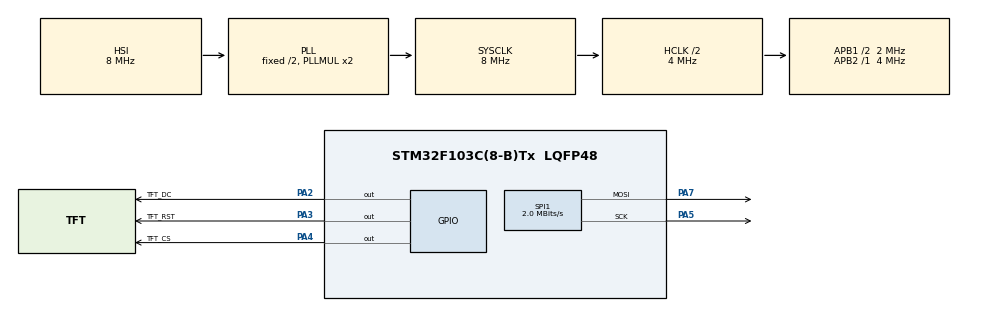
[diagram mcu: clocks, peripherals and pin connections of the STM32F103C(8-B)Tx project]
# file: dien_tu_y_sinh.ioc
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Dma.Request0=SPI1_TX
Dma.SPI1_TX.0.Direction=DMA_MEMORY_TO_PERIPH
Dma.SPI1_TX.0.Instance=DMA1_Channel3
Dma.SPI1_TX.0.MemDataAlignment=DMA_MDATAALIGN_BYTE
Dma.SPI1_TX.0.MemInc=DMA_MINC_ENABLE
Dma.SPI1_TX.0.Mode=DMA_NORMAL
Dma.SPI1_TX.0.PeriphDataAlignment=DMA_PDATAALIGN_BYTE
Dma.SPI1_TX.0.PeriphInc=DMA_PINC_DISABLE
Dma.SPI1_TX.0.Priority=DMA_PRIORITY_LOW
Mcu.Family=STM32F1
Mcu.Name=STM32F103C(8-B)Tx
Mcu.Package=LQFP48
NVIC.DMA1_Channel3_IRQn=true\:0\:0\:false\:false\:true\:false\:true\:true
NVIC.PriorityGroup=NVIC_PRIORITYGROUP_4
NVIC.SPI1_IRQn=true\:0\:0\:false\:false\:true\:true\:true\:true
PA13.Mode=Serial_Wire
PA13.Signal=SYS_JTMS-SWDIO
PA14.Mode=Serial_Wire
PA14.Signal=SYS_JTCK-SWCLK
PA2.GPIO_Label=TFT_DC
PA2.Signal=GPIO_Output
PA3.GPIO_Label=TFT_RST
PA3.Signal=GPIO_Output
PA4.GPIO_Label=TFT_CS
PA4.Signal=GPIO_Output
PA5.Mode=TX_Only_Simplex_Unidirect_Master
PA5.Signal=SPI1_SCK
PA7.Mode=TX_Only_Simplex_Unidirect_Master
PA7.Signal=SPI1_MOSI
PD0-OSC_IN.Mode=HSE-External-Oscillator
PD0-OSC_IN.Signal=RCC_OSC_IN
PD1-OSC_OUT.Mode=HSE-External-Oscillator
PD1-OSC_OUT.Signal=RCC_OSC_OUT
ProjectManager.HeapSize=0x200
ProjectManager.StackSize=0x400
ProjectManager.TargetToolchain=STM32CubeIDE
RCC.AHBCLKDivider=RCC_SYSCLK_DIV2
RCC.AHBFreq_Value=4000000
RCC.APB1CLKDivider=RCC_HCLK_DIV2
RCC.APB1Freq_Value=2000000
RCC.APB1TimFreq_Value=4000000
RCC.APB2Freq_Value=4000000
RCC.APB2TimFreq_Value=4000000
RCC.HCLKFreq_Value=4000000
RCC.SYSCLKFreq_VALUE=8000000
RCC.SYSCLKSource=RCC_SYSCLKSOURCE_PLLCLK
RCC.USBFreq_Value=8000000
SPI1.BaudRatePrescaler=SPI_BAUDRATEPRESCALER_2
SPI1.CalculateBaudRate=2.0 MBits/s
SPI1.Direction=SPI_DIRECTION_2LINES
SPI1.Mode=SPI_MODE_MASTER
SPI1.VirtualType=VM_MASTER
board=custom

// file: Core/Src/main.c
/* USER CODE BEGIN Header */
/**
  ******************************************************************************
  * @file           : main.c
  * @brief          : Main program body
  ******************************************************************************
  * @attention
  *
  * Copyright (c) 2026 STMicroelectronics.
  * All rights reserved.
  *
  * This software is licensed under terms that can be found in the LICENSE file
  * in the root directory of this software component.
  * If no LICENSE file comes with this software, it is provided AS-IS.
  *
  ******************************************************************************
  */
/* USER CODE END Header */
#include "main.h"

/* USER CODE BEGIN Includes */
#include "main.h"
#include "ili9341.h"
#include "fonts.h"
#include "max30102.h"
#include "filter.h"
#include <stdio.h>
#include <stdlib.h>
#include <math.h>
/* USER CODE END Includes */

/* USER CODE BEGIN PD */
#define IR_DC_THRESHOLD 100000
/* USER CODE END PD */

SPI_HandleTypeDef hspi1;
DMA_HandleTypeDef hdma_spi1_tx;

/* USER CODE BEGIN PV */
// Tọa độ khung sóng nhịp tim (~4 s trên màn, mỗi nhịp đủ rộng để thấy dạng xung)
#define WAVE_X_MIN   10
#define WAVE_X_MAX   310
#define WAVE_Y_MIN   105
#define WAVE_Y_MAX   230
#define WAVE_Y_MID   167
#define WAVE_Y_BASE  205
#define WAVE_STEP    3

static uint16_t wave_x_curr = WAVE_X_MIN;
static uint16_t wave_y_prev = WAVE_Y_BASE;
static float wave_disp = 0.0f;

// Biến xử lý tín hiệu chuẩn y tế
static uint32_t ir = 0, red = 0;
static float dc_ir = 0.0f, dc_red = 0.0f;
static float ac_ir = 0.0f, ac_red = 0.0f;
static float alpha = 0.1f;

static float ir_filtered = 0.0f;
static float red_filtered = 0.0f;

static float ir_prev2 = 0.0f;
static float ir_prev1 = 0.0f;
static float ir_current = 0.0f;

static uint32_t last_peak_time = 0;
static uint8_t peak_detected = 0;

static float BPM = 0.0f;
static uint8_t display_bpm = 0;
static uint8_t display_spo2 = 0;
static uint8_t finger_detected = 0;

static float red_ac_peak = 0.0f;
static float ir_ac_peak = 0.0f;

// Trung bình 8 khoảng RR + làm mượt để BPM không nhảy vọt
#define BEAT_BUF_SIZE 8
#define SAMPLE_PERIOD_MS 40u /* MAX30102 100 Hz / SMP_AVE 4 = 25 Hz */
static uint16_t beat_intervals[BEAT_BUF_SIZE] = {0};
static uint8_t beat_idx = 0;
static uint8_t beat_cnt = 0;
static float peak_amplitude_recent = 50.0f;
static float wave_scale = 0.18f;
static uint32_t sample_tick_ms = 0;
static uint32_t last_beat_wall_ms = 0;
static float bpm_smooth = 0.0f;
/* USER CODE END PV */

void SystemClock_Config(void);
static void MX_GPIO_Init(void);
static void MX_DMA_Init(void);
static void MX_SPI1_Init(void);

/* USER CODE BEGIN 0 */
// Khởi tạo khung giao diện cố định
void UI_InitLayout(void) {
    ILI9341_FillScreen(BLACK);

    // Tiêu đề
    ILI9341_DrawText("PATIENT MONITOR - MAX30102", 20, 5, CYAN, BLACK, Font_7x10);

    // Khung BPM (Màu đỏ)
    ILI9341_FillRectangleDMA(10, 25, 145, 70, RED);
    ILI9341_FillRectangleDMA(12, 27, 141, 66, BLACK);
    ILI9341_DrawText("HEART RATE", 18, 30, RED, BLACK, Font_7x10);
    ILI9341_DrawText("BPM", 115, 70, RED, BLACK, Font_7x10);

    // Khung SpO2 (Màu xanh lá)
    ILI9341_FillRectangleDMA(165, 25, 145, 70, GREEN);
    ILI9341_FillRectangleDMA(167, 27, 141, 66, BLACK);
    ILI9341_DrawText("SPO2", 175, 30, GREEN, BLACK, Font_7x10);
    ILI9341_DrawText("%", 290, 70, GREEN, BLACK, Font_7x10);

    // Khung sóng PPG (Màu vàng)
    ILI9341_FillRectangleDMA(WAVE_X_MIN - 2, WAVE_Y_MIN - 2, (WAVE_X_MAX - WAVE_X_MIN) + 4, (WAVE_Y_MAX - WAVE_Y_MIN) + 4, YELLOW);
    ILI9341_FillRectangleDMA(WAVE_X_MIN, WAVE_Y_MIN, (WAVE_X_MAX - WAVE_X_MIN), (WAVE_Y_MAX - WAVE_Y_MIN), BLACK);
    ILI9341_DrawText("HEART WAVE", WAVE_X_MIN + 5, WAVE_Y_MIN + 5, YELLOW, BLACK, Font_7x10);
}

// Cập nhật số liệu BPM
void UI_UpdateBPM(uint8_t bpm) {
    char buf[10];
    if (bpm == 0) {
        sprintf(buf, "---");
    } else {
        sprintf(buf, "%3d", bpm);
    }
    ILI9341_DrawText(buf, 30, 48, WHITE, BLACK, Font_16x26);
}

// Cập nhật số liệu SpO2
void UI_UpdateSpO2(uint8_t spo2) {
    char buf[10];
    if (spo2 == 0) {
        sprintf(buf, "---");
    } else {
        sprintf(buf, "%3d", spo2);
    }
    ILI9341_DrawText(buf, 185, 48, WHITE, BLACK, Font_16x26);
}

// Vẽ sóng nhịp tim (xung PPG dạng tâm thu, nét 2px, quét 3px/mẫu)
void UI_DrawWavePoint(int16_t ppg_val) {
    int16_t y_new = WAVE_Y_BASE - ppg_val;
    if (y_new < WAVE_Y_MIN + 18) y_new = WAVE_Y_MIN + 18;
    if (y_new > WAVE_Y_MAX - 4)  y_new = WAVE_Y_MAX - 4;

    uint16_t x1 = wave_x_curr + WAVE_STEP;
    if (x1 > WAVE_X_MAX) x1 = WAVE_X_MAX;

    uint16_t erase_x = wave_x_curr + 1;
    uint16_t erase_w = WAVE_STEP + 8;
    if (erase_x + erase_w > WAVE_X_MAX) {
        erase_w = (WAVE_X_MAX > erase_x) ? (WAVE_X_MAX - erase_x) : 0;
    }
    if (erase_w > 0) {
        ILI9341_FillRectangleDMA(erase_x, WAVE_Y_MIN + 16, erase_w, (WAVE_Y_MAX - WAVE_Y_MIN - 17), BLACK);
    }

    if (x1 > wave_x_curr) {
        ILI9341_DrawLine(wave_x_curr, wave_y_prev, x1, y_new, GREEN);
        ILI9341_DrawLine(wave_x_curr, (uint16_t)(wave_y_prev - 1), x1, (uint16_t)(y_new - 1), GREEN);
    }

    wave_y_prev = y_new;
    wave_x_curr = x1;

    if (wave_x_curr >= WAVE_X_MAX) {
        wave_x_curr = WAVE_X_MIN + 1;
        wave_y_prev = y_new;
        ILI9341_FillRectangleDMA(WAVE_X_MIN, WAVE_Y_MIN + 16, 10, (WAVE_Y_MAX - WAVE_Y_MIN - 17), BLACK);
    }
}

static bool last_finger_state = true;

void UI_UpdateFingerStatus(bool finger) {
    if (finger != last_finger_state) {
        last_finger_state = finger;
        if (!finger) {
            UI_UpdateBPM(0);
            UI_UpdateSpO2(0);
            ILI9341_DrawText("PLACE FINGER ON SENSOR", 75, WAVE_Y_MID - 5, YELLOW, BLACK, Font_7x10);
        } else {
            // Xóa dòng thông báo khi đã đặt ngón tay
            ILI9341_FillRectangleDMA(65, WAVE_Y_MID - 8, 190, 16, BLACK);
        }
    }
}

void UI_DrawHeartBeat(bool active) {
    uint16_t color = active ? RED : BLACK;
    ILI9341_FillRectangleDMA(95, 30, 8, 8, color);
}
/* USER CODE END 0 */

int main(void)
{

  /* MCU Configuration--------------------------------------------------------*/

  /* Reset of all peripherals, Initializes the Flash interface and the Systick. */
  HAL_Init();

  /* Configure the system clock */
  SystemClock_Config();

  /* Initialize all configured peripherals */
  MX_GPIO_Init();
  MX_DMA_Init();
  MX_SPI1_Init();
  /* USER CODE BEGIN 2 */
  ILI9341_Init();
  UI_InitLayout();
  UI_UpdateBPM(0);
  UI_UpdateSpO2(0);

  // Khởi tạo bộ lọc dải thông (0.5 - 5Hz) và cảm biến MAX30102 theo repo thuyhoh/y-sinh
  BandPass_Init();
  max30102_init();
  dc_ir = dc_red = 0;
  ir_prev1 = ir_prev2 = 0;
  UI_UpdateFingerStatus(false);
  /* USER CODE END 2 */

  /* Infinite loop */
  /* USER CODE BEGIN WHILE */
  uint32_t last_ui_tick = 0;
  uint32_t last_fifo_poll = 0;
  uint32_t beat_anim_tick = 0;
  bool heart_on = false;
  uint8_t prev_ui_bpm = 255;
  uint8_t prev_ui_spo2 = 255;

  while (1)
  {
      bool data_ready = max30102_is_data_ready();
      if (!data_ready && (HAL_GetTick() - last_fifo_poll >= 15)) {
          last_fifo_poll = HAL_GetTick();
          if (max30102_available_samples() > 0) {
              data_ready = true;
          }
      }

      if (data_ready) {
          uint8_t samples = max30102_available_samples();
          if (samples == 0) samples = 1;
          if (samples > 16) samples = 16; // Giới hạn an toàn tránh nghẽn CPU

          for (uint8_t s = 0; s < samples; s++) {
              max30102_read_spo2(&red, &ir);

              // 1. Tách thành phần DC (DC tracking)
              dc_ir  += alpha * ((float)ir  - dc_ir);
              dc_red += alpha * ((float)red - dc_red);

              // Chuẩn y tế: Nghịch đảo quang học (dc - raw) để khi tim tống máu, xung vọt lên thành đỉnh dương (Positive Systolic Peak)
              ac_ir  = dc_ir - (float)ir;
              ac_red = dc_red - (float)red;

              // 2. Kiểm tra tiếp xúc ngón tay chuẩn y tế (DC nằm trong dải sinh lý hợp lệ, không bão hòa quang)
              if (dc_ir > 40000.0f && dc_ir < 250000.0f) {
                  finger_detected = 1;
              } else {
                  finger_detected = 0;
                  BPM = 0;
                  display_bpm = 0;
                  display_spo2 = 0;
                  peak_detected = 0;
                  beat_cnt = 0;
                  beat_idx = 0;
                  bpm_smooth = 0.0f;
                  peak_amplitude_recent = 50.0f;
                  wave_disp = 0.0f;
                  BandPass_Reset();
              }

              // 3. Bộ lọc dải thông 0.5 - 4.5Hz chuẩn y tế (BandPass_IR & BandPass_Red)
              ir_filtered = BandPass_IR(ac_ir);
              red_filtered = BandPass_Red(ac_red);

              ir_current = ir_filtered;
              sample_tick_ms += SAMPLE_PERIOD_MS;

              // 4. Bắt đỉnh tâm thu:
              // Thời gian RR đếm theo mẫu 25 Hz (không dùng HAL_GetTick) để FIFO xử lý hàng loạt
              // không làm khoảng RR bị rút ngắn giả → BPM nhảy vọt.
              float dynamic_threshold = 0.6f * peak_amplitude_recent;
              if (dynamic_threshold < 20.0f) dynamic_threshold = 20.0f;
              if (dynamic_threshold > 80.0f) dynamic_threshold = 80.0f;

              uint32_t now = sample_tick_ms;
              uint32_t min_rr_ms = 400; /* trần ~150 BPM, loại khe dicrotic */
              if (beat_cnt >= 2) {
                  uint32_t sum_prev = 0;
                  for (uint8_t i = 0; i < beat_cnt; i++) {
                      sum_prev += beat_intervals[i];
                  }
                  uint32_t avg_prev = sum_prev / beat_cnt;
                  uint32_t adaptive_rr = (uint32_t)(0.55f * (float)avg_prev);
                  if (adaptive_rr > min_rr_ms) min_rr_ms = adaptive_rr;
                  if (min_rr_ms > 700) min_rr_ms = 700;
              }

              if (finger_detected && (ir_prev2 < ir_prev1) && (ir_prev1 >= ir_current) && (ir_prev1 > dynamic_threshold) &&
                  (!peak_detected || (now - last_peak_time >= min_rr_ms)))
              {
                  peak_amplitude_recent = 0.7f * peak_amplitude_recent + 0.3f * ir_prev1;

                  if (peak_detected == 0)
                  {
                      last_peak_time = now;
                      last_beat_wall_ms = HAL_GetTick();
                      peak_detected = 1;
                      beat_cnt = 0;
                      beat_idx = 0;
                      bpm_smooth = 0.0f;
                  }
                  else
                  {
                      uint32_t delta_t = now - last_peak_time;

                      uint8_t accept_rr = 0;
                      if (delta_t >= 400 && delta_t <= 1500) {
                          if (beat_cnt < 2) {
                              accept_rr = 1;
                          } else {
                              uint32_t sum_dt0 = 0;
                              for (uint8_t i = 0; i < beat_cnt; i++) {
                                  sum_dt0 += beat_intervals[i];
                              }
                              uint32_t avg0 = sum_dt0 / beat_cnt;
                              /* Bỏ đỉnh thừa (RR quá ngắn). Nhịp bị miss (RR ~2 lần) không đưa vào trung bình. */
                              if (delta_t < (avg0 * 75u) / 100u) {
                                  accept_rr = 0; /* không dịch last_peak: đây là đỉnh giả */
                              } else if (delta_t > (avg0 * 16u) / 10u) {
                                  last_peak_time = now; /* miss beat: neo lại, không làm BPM tụt */
                                  accept_rr = 0;
                              } else {
                                  accept_rr = 1;
                              }
                          }
                      }

                      if (accept_rr) {
                          last_peak_time = now;
                          last_beat_wall_ms = HAL_GetTick();
                          beat_intervals[beat_idx] = (uint16_t)delta_t;
                          beat_idx = (beat_idx + 1) % BEAT_BUF_SIZE;
                          if (beat_cnt < BEAT_BUF_SIZE) beat_cnt++;

                          uint32_t sum_dt = 0;
                          for (uint8_t i = 0; i < beat_cnt; i++) {
                              sum_dt += beat_intervals[i];
                          }
                          uint32_t avg_dt = sum_dt / beat_cnt;
                          float instant_bpm = 60000.0f / (float)avg_dt;

                          if (instant_bpm >= 40.0f && instant_bpm <= 150.0f && beat_cnt >= 3) {
                              if (bpm_smooth < 1.0f) {
                                  bpm_smooth = instant_bpm;
                              } else {
                                  bpm_smooth = 0.8f * bpm_smooth + 0.2f * instant_bpm;
                                  float max_step = 3.0f;
                                  if (bpm_smooth > (float)display_bpm + max_step && display_bpm > 0) {
                                      bpm_smooth = (float)display_bpm + max_step;
                                  }
                                  if (bpm_smooth < (float)display_bpm - max_step && display_bpm > 0) {
                                      bpm_smooth = (float)display_bpm - max_step;
                                  }
                              }
                              display_bpm = (uint8_t)(bpm_smooth + 0.5f);

                              UI_DrawHeartBeat(true);
                              heart_on = true;
                              beat_anim_tick = HAL_GetTick();
                          }
                      }
                  }

                  // 5. Tính SpO2 chuẩn y tế tại đỉnh tâm thu (Ratio of Ratios)
                  red_ac_peak = fabsf(red_filtered);
                  ir_ac_peak  = fabsf(ir_filtered);
                  if (ir_ac_peak > 5.0f && dc_ir > 10000.0f && dc_red > 10000.0f) {
                      float R = (red_ac_peak / dc_red) / (ir_ac_peak / dc_ir);

                      // Đường cong hiệu chuẩn y tế chuẩn hoá Maxim / Nellcor
                      float calc_spo2 = 110.0f - 25.0f * R;
                      if (calc_spo2 > 99.0f) calc_spo2 = 99.0f;
                      if (calc_spo2 < 85.0f) calc_spo2 = 85.0f;

                      if (display_spo2 == 0) {
                          display_spo2 = (uint8_t)(calc_spo2 + 0.5f);
                      } else {
                          display_spo2 = (uint8_t)(0.8f * display_spo2 + 0.2f * calc_spo2 + 0.5f);
                      }
                  }
              }

              ir_prev2 = ir_prev1;
              ir_prev1 = ir_current;

              // 6. Vẽ sóng nhịp tim: làm mượt hiển thị, nén nửa âm để thành xung (đỉnh tâm thu)
              if (finger_detected) {
                  wave_disp = 0.55f * wave_disp + 0.45f * ir_current;
                  float pulse = wave_disp;
                  if (pulse < 0.0f) pulse *= 0.22f;

                  if (peak_amplitude_recent > 15.0f) {
                      float target_scale = 58.0f / peak_amplitude_recent;
                      if (target_scale > 0.55f) target_scale = 0.55f;
                      if (target_scale < 0.10f) target_scale = 0.10f;
                      wave_scale += 0.03f * (target_scale - wave_scale);
                  }

                  int16_t wave_val = (int16_t)(pulse * wave_scale);
                  if (wave_val > 72)  wave_val = 72;
                  if (wave_val < -12) wave_val = -12;
                  UI_DrawWavePoint(wave_val);
              } else {
                  wave_disp = 0.0f;
                  UI_DrawWavePoint(0);
              }
          }

          // Cập nhật thông báo ngón tay
          UI_UpdateFingerStatus(finger_detected);
      }

      // Tắt biểu tượng nhịp tim sau 120ms
      if (heart_on && (HAL_GetTick() - beat_anim_tick > 120)) {
          UI_DrawHeartBeat(false);
          heart_on = false;
      }

      // Reset BPM nếu quá 3.5 giây không bắt được nhịp
      if (finger_detected && peak_detected && (HAL_GetTick() - last_beat_wall_ms > 3500)) {
          display_bpm = 0;
          bpm_smooth = 0.0f;
          beat_cnt = 0;
          beat_idx = 0;
          peak_detected = 0;
      }

      // Cập nhật số liệu BPM & SpO2 lên màn hình mỗi 250ms (chỉ gửi lệnh vẽ khi giá trị thay đổi để tối ưu bus SPI)
      if (HAL_GetTick() - last_ui_tick >= 250) {
          last_ui_tick = HAL_GetTick();
          if (finger_detected) {
              if (display_bpm > 0 && display_bpm != prev_ui_bpm) {
                  prev_ui_bpm = display_bpm;
                  UI_UpdateBPM(display_bpm);
              }
              if (display_spo2 > 0 && display_spo2 != prev_ui_spo2) {
                  prev_ui_spo2 = display_spo2;
                  UI_UpdateSpO2(display_spo2);
              }
          } else {
              prev_ui_bpm = 0;
              prev_ui_spo2 = 0;
          }
      }
  /* USER CODE END WHILE */

  }
}

void SystemClock_Config(void)
{
  RCC_OscInitTypeDef RCC_OscInitStruct = {0};
  RCC_ClkInitTypeDef RCC_ClkInitStruct = {0};

  /** Initializes the RCC Oscillators according to the specified parameters
  * in the RCC_OscInitTypeDef structure.
  */
  RCC_OscInitStruct.OscillatorType = RCC_OSCILLATORTYPE_HSI;
  RCC_OscInitStruct.HSIState = RCC_HSI_ON;
  RCC_OscInitStruct.HSICalibrationValue = RCC_HSICALIBRATION_DEFAULT;
  RCC_OscInitStruct.PLL.PLLState = RCC_PLL_ON;
  RCC_OscInitStruct.PLL.PLLSource = RCC_PLLSOURCE_HSI_DIV2;
  RCC_OscInitStruct.PLL.PLLMUL = RCC_PLL_MUL2;
  if (HAL_RCC_OscConfig(&RCC_OscInitStruct) != HAL_OK)
  {
    Error_Handler();
  }

  /** Initializes the CPU, AHB and APB buses clocks
  */
  RCC_ClkInitStruct.ClockType = RCC_CLOCKTYPE_HCLK|RCC_CLOCKTYPE_SYSCLK
                              |RCC_CLOCKTYPE_PCLK1|RCC_CLOCKTYPE_PCLK2;
  RCC_ClkInitStruct.SYSCLKSource = RCC_SYSCLKSOURCE_PLLCLK;
  RCC_ClkInitStruct.AHBCLKDivider = RCC_SYSCLK_DIV2;
  RCC_ClkInitStruct.APB1CLKDivider = RCC_HCLK_DIV2;
  RCC_ClkInitStruct.APB2CLKDivider = RCC_HCLK_DIV1;

  if (HAL_RCC_ClockConfig(&RCC_ClkInitStruct, FLASH_LATENCY_0) != HAL_OK)
  {
    Error_Handler();
  }
}

static void MX_SPI1_Init(void)
{

  /* SPI1 parameter configuration*/
  hspi1.Instance = SPI1;
  hspi1.Init.Mode = SPI_MODE_MASTER;
  hspi1.Init.Direction = SPI_DIRECTION_2LINES;
  hspi1.Init.DataSize = SPI_DATASIZE_8BIT;
  hspi1.Init.CLKPolarity = SPI_POLARITY_LOW;
  hspi1.Init.CLKPhase = SPI_PHASE_1EDGE;
  hspi1.Init.NSS = SPI_NSS_SOFT;
  hspi1.Init.BaudRatePrescaler = SPI_BAUDRATEPRESCALER_2;
  hspi1.Init.FirstBit = SPI_FIRSTBIT_MSB;
  hspi1.Init.TIMode = SPI_TIMODE_DISABLE;
  hspi1.Init.CRCCalculation = SPI_CRCCALCULATION_DISABLE;
  hspi1.Init.CRCPolynomial = 10;
  if (HAL_SPI_Init(&hspi1) != HAL_OK)
  {
    Error_Handler();
  }

}

static void MX_DMA_Init(void)
{

  /* DMA controller clock enable */
  __HAL_RCC_DMA1_CLK_ENABLE();

  /* DMA interrupt init */
  /* DMA1_Channel3_IRQn interrupt configuration */
  HAL_NVIC_SetPriority(DMA1_Channel3_IRQn, 0, 0);
  HAL_NVIC_EnableIRQ(DMA1_Channel3_IRQn);

}

static void MX_GPIO_Init(void)
{
  GPIO_InitTypeDef GPIO_InitStruct = {0};

  /* GPIO Ports Clock Enable */
  __HAL_RCC_GPIOD_CLK_ENABLE();
  __HAL_RCC_GPIOA_CLK_ENABLE();

  /*Configure GPIO pin Output Level */
  HAL_GPIO_WritePin(GPIOA, TFT_DC_Pin, GPIO_PIN_RESET);
  HAL_GPIO_WritePin(GPIOA, TFT_RST_Pin|TFT_CS_Pin, GPIO_PIN_SET);

  /*Configure GPIO pins : TFT_DC_Pin TFT_RST_Pin TFT_CS_Pin */
  GPIO_InitStruct.Pin = TFT_DC_Pin|TFT_RST_Pin|TFT_CS_Pin;
  GPIO_InitStruct.Mode = GPIO_MODE_OUTPUT_PP;
  GPIO_InitStruct.Pull = GPIO_NOPULL;
  GPIO_InitStruct.Speed = GPIO_SPEED_FREQ_HIGH;
  HAL_GPIO_Init(GPIOA, &GPIO_InitStruct);

}

void Error_Handler(void)
{
  __disable_irq();
  while (1)
  {
  }
}
